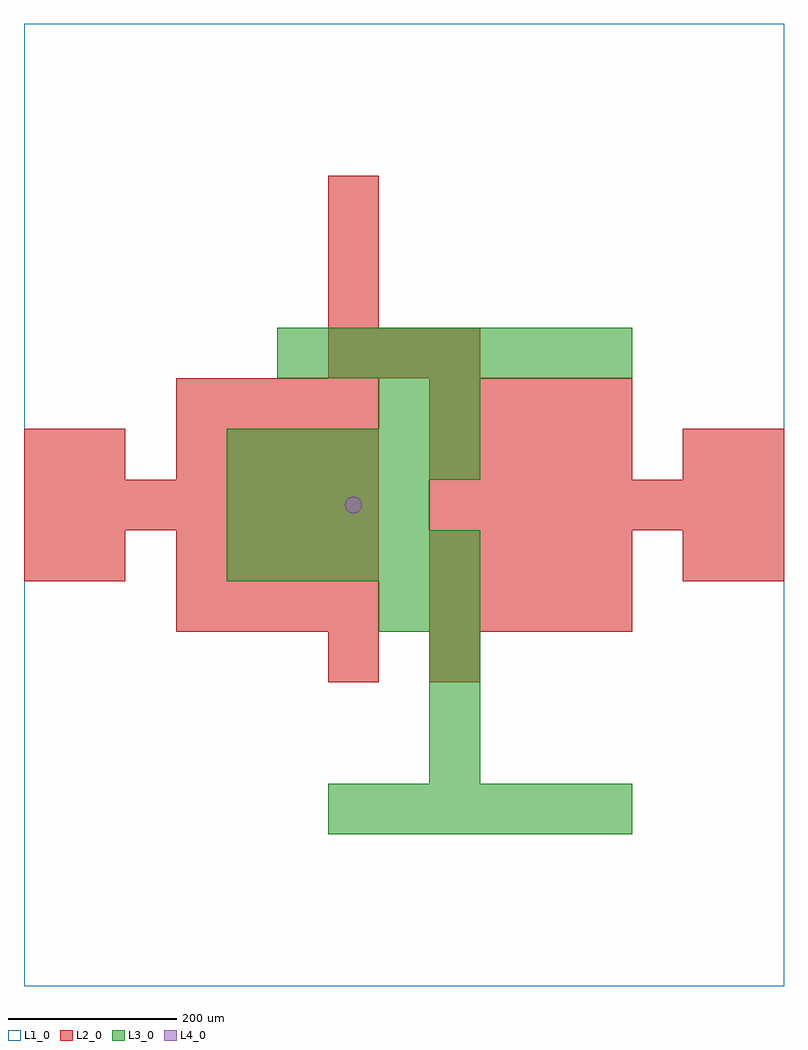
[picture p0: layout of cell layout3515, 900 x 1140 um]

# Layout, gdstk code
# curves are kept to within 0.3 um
import gdstk
lib = gdstk.Library(unit=1e-6, precision=1e-09)
def R(c, l, rs):  # rectangles x0, y0, x1, y1
    for r in rs: c.add(gdstk.rectangle(r[:2], r[2:], *l))
def A(c, l, x, y, w, h, nx, ny, dx, dy):  # array of equal rectangles
    R(c, l, [(x+i*dx, y+j*dy, x+i*dx+w, y+j*dy+h) for i in range(nx) for j in range(ny)])
def P(c, l, *ps):  # polygons
    for p in ps: c.add(gdstk.Polygon(p, *l))
L1_0 = (1, 0)
L2_0 = (2, 0)
L3_0 = (3, 0)
L4_0 = (4, 0)

layout3515 = lib.new_cell('layout3515')
R(layout3515, L1_0, [(0,0,900,1140)])
A(layout3515, L2_0, 180, 420, 60, 60, 4, 2, 60, 60)
A(layout3515, L2_0, 480, 420, 60, 60, 4, 2, 60, 60)
A(layout3515, L2_0, 0, 540, 60, 60, 7, 1, 60, 0)
A(layout3515, L2_0, 480, 540, 60, 60, 7, 1, 60, 0)
A(layout3515, L2_0, 180, 600, 60, 60, 4, 2, 60, 60)
A(layout3515, L2_0, 480, 600, 60, 60, 4, 2, 60, 60)
A(layout3515, L2_0, 360, 720, 60, 60, 3, 1, 60, 0)
A(layout3515, L2_0, 360, 780, 60, 60, 1, 3, 0, 60)
R(layout3515, L2_0, [(360,360,420,420), (480,360,540,420), (0,480,60,540), (60,480,120,540), (780,480,840,540), (840,480,900,540), (0,600,60,660), (60,600,120,660), (780,600,840,660), (840,600,900,660)])
A(layout3515, L3_0, 360, 180, 60, 60, 6, 1, 60, 0)
A(layout3515, L3_0, 480, 240, 60, 60, 1, 4, 0, 60)
A(layout3515, L3_0, 240, 480, 60, 60, 5, 2, 60, 120)
A(layout3515, L3_0, 240, 540, 60, 60, 4, 1, 60, 0)
A(layout3515, L3_0, 300, 720, 60, 60, 7, 1, 60, 0)
R(layout3515, L3_0, [(420,420,480,480), (420,660,480,720), (480,660,540,720)])
P(layout3515, L4_0, [(400,570),(399.239,573.827),(397.071,577.071),(393.827,579.239),(390,580),(386.173,579.239),(382.929,577.071),(380.761,573.827),(380,570),(380.761,566.173),(382.929,562.929),(386.173,560.761),(390,560),(393.827,560.761),(397.071,562.929),(399.239,566.173)])

lib.write_gds('layout3515.gds')
